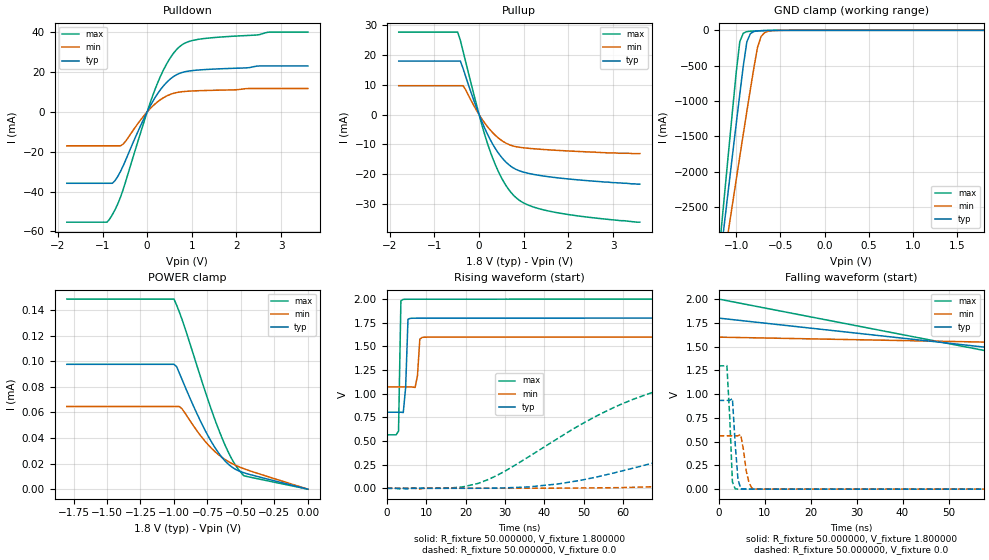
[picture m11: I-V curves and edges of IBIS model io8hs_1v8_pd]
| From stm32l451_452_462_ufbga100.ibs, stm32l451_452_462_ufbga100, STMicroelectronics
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|   Model io8hs_1v8_pd
[Model]  io8hs_1v8_pd
Model_type I/O
Polarity   Non-Inverting
Enable   Active-Low
Vinl =   0.540000V
Vinh =   1.260000V
Vmeas =  0.900000V
Cref =   100.000000nF
Rref =   1.000000k
Vref =   1.800000V
C_comp   2.197300pF   2.162700pF   2.264100pF
[Temperature Range]   25.000000   0.125000k   -40.000000
[Pullup Reference]   1.800000V   1.600000V   2.000000V
[Pulldown Reference]   0.0V   0.0V   0.0V
[POWER Clamp Reference]   1.800000V   1.600000V   2.000000V
[GND Clamp Reference]   0.0V   0.0V   0.0V
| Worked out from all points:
|   slope of the pulldown table from 0 to 0.27 V, typ, clamps not added: 26.2 ohm
|   slope of the pullup table from 0 to 0.27 V, typ, clamps not added: 30.1 ohm
|   GND clamp passes 1 mA (typ) near -0.58 V on its own axis
|   rising waveform, R_fixture 50.000000, V_fixture 1.800000: 20-80 % time 583ps typ, 535ps min, 376ps max; typ from 0.804 V to 1.8 V
|   rising waveform, R_fixture 50.000000, V_fixture 0.0: 20-80 % time 64.8ns typ, 104ns min, 36.2ns max; typ from 0 V to 0.934 V
|   falling waveform, R_fixture 50.000000, V_fixture 1.800000: 20-80 % time 115ns typ, 164ns min, 91.9ns max; typ from 1.8 V to 0.804 V
|   falling waveform, R_fixture 50.000000, V_fixture 0.0: 20-80 % time 811ps typ, 1.12ns min, 745ps max; typ from 0.934 V to 0 V
[Pulldown]
|Voltage   I(typ)   I(min)   I(max)
-1.8V     -35.82mA   -17.03mA   -55.35mA
-900mV    -35.82mA   -17.03mA   -55.35mA
-840mV    -35.82mA   -17.03mA   -53.76mA
-720mV    -34.49mA   -17.03mA   -49.08mA
-540mV    -27.18mA   -16.22mA   -39.07mA
-60mV     -2.756mA   -1.584mA   -4.227mA
240mV     9.353mA    5.171mA    14.85mA
480mV     15.75mA    8.427mA    25.77mA
720mV     19.29mA    9.947mA    32.62mA
960mV     20.57mA    10.43mA    35.5mA
1.32V     21.27mA    10.74mA    36.91mA
3.6V      23.04mA    11.73mA    40.04mA
[Pullup]
|Voltage   I(typ)   I(min)   I(max)
-1.8V     18.05mA    9.738mA    27.78mA
-480mV    18.05mA    9.738mA    27.78mA
-420mV    18.05mA    9.738mA    25.03mA
-360mV    15.57mA    9.738mA    21.38mA
60mV      -2.268mA   -1.401mA   -3.341mA
240mV     -8.143mA   -5.004mA   -12mA
360mV     -11.31mA   -6.914mA   -16.72mA
540mV     -15mA      -9.056mA   -22.31mA
840mV     -18.52mA   -10.83mA   -28.11mA
1.14V     -19.87mA   -11.38mA   -30.67mA
1.68V     -21.13mA   -11.96mA   -32.81mA
3.6V      -23.4mA    -13.1mA    -36.2mA
[GND_clamp]
|Voltage   I(typ)   I(min)   I(max)
-1.8V     -9.861A    -8.8A      -9.626A
-1.16V    -3.004A    -3.417A    -2.68A
-1.12V    -2.579A    -3.088A    -2.15A
-1.08V    -2.155A    -2.76A     -1.623A
-1V       -1.315A    -2.108A    -586.3mA
-960mV    -900.6mA   -1.784A    -158.3mA
-920mV    -496.8mA   -1.462A    -39.4mA
-880mV    -160.5mA   -1.144A    -17.83mA
-840mV    -45.94mA   -830.4mA   -12.53mA
-760mV    -8.275mA   -243mA     -7.558mA
-680mV    -3.402mA   -33.06mA   -3.844mA
1.8V      47.61uA    51.9uA     39.21uA
[POWER_clamp]
|Voltage   I(typ)   I(min)   I(max)
-1.8V     97.61uA    64.61uA    148.6uA
-1V       97.61uA    64.61uA    148.6uA
-980mV    95.77uA    64.61uA    143.9uA
-960mV    90.85uA    64.61uA    138.6uA
-940mV    85.82uA    62.87uA    132.7uA
-820mV    57.18uA    44.44uA    93.74uA
-720mV    36.98uA    32uA       61.96uA
-620mV    22.23uA    23.29uA    34.8uA
-560mV    16.76uA    19.67uA    22.06uA
-520mV    14.49uA    17.74uA    15.63uA
-480mV    12.91uA    16.08uA    10.62uA
0V        0A         0A         0A
[Ramp]
| variable   typ   min   max
dV/dt_r  0.56025/65.12955n   0.33658/0.11608u   0.77838/36.16086n
dV/dt_f  0.59723/66.14768n   0.31668/0.11599u   0.86050/35.16151n
R_load = 50.000000
[Rising Waveform]
R_fixture= 50.000000
V_fixture= 1.800000
V_fixture_min= 1.600000
V_fixture_max= 2.000000
|time   V(typ)   V(min)   V(max)
0s        804mV      1.071V     565.4mV
3.003ns   804.1mV    1.071V     605mV
3.604ns   804mV      1.071V     1.98V
4.204ns   800.5mV    1.071V     1.996V
4.805ns   1.063V     1.071V     1.997V
5.405ns   1.786V     1.071V     1.998V
6.006ns   1.796V     1.071V     1.998V
7.207ns   1.798V     1.065V     1.998V
9.61ns    1.798V     1.597V     1.998V
299.1ns   1.799V     1.599V     2V
[Rising Waveform]
R_fixture= 50.000000
V_fixture= 0.0
V_fixture_min= 0.0
V_fixture_max= 0.0
|time   V(typ)   V(min)   V(max)
0s        169uV      298.2uV    106.4uV
23.42ns   998.7uV    671.7uV    55.24mV
43.24ns   45.28mV    1.71mV     522.8mV
62.46ns   212.8mV    11.12mV    939.5mV
78.08ns   378.7mV    32.85mV    1.133V
94.89ns   544mV      75.69mV    1.225V
124.3ns   744.6mV    183.4mV    1.278V
156.8ns   853.9mV    303.1mV    1.292V
225.2ns   923.7mV    481.8mV    1.297V
299.1ns   933.9mV    561.3mV    1.297V
[Falling Waveform]
R_fixture= 50.000000
V_fixture= 1.800000
V_fixture_min= 1.600000
V_fixture_max= 2.000000
|time   V(typ)   V(min)   V(max)
0s        1.799V     1.599V     2V
150.2ns   1.007V     1.464V     593.9mV
300.3ns   817.1mV    1.136V     565.9mV
450.5ns   805.1mV    1.083V     565.4mV
750.8ns   804mV      1.072V     565.4mV
14.86us   804mV      1.071V     565.4mV
[Falling Waveform]
R_fixture= 50.000000
V_fixture= 0.0
V_fixture_min= 0.0
V_fixture_max= 0.0
|time   V(typ)   V(min)   V(max)
0s        933.9mV    561.3mV    1.297V
1.802ns   934.1mV    561.3mV    1.3V
2.402ns   934mV      561.3mV    771.5mV
3.003ns   952.3mV    561.4mV    75.96mV
3.604ns   478mV      561.5mV    3.458mV
4.204ns   106.3mV    561.2mV    1.049mV
4.805ns   5.486mV    574.3mV    708.6uV
6.607ns   692.9uV    69.79mV    625uV
7.808ns   615.4uV    2.085mV    615uV
299.1ns   169uV      298.2uV    106.4uV
